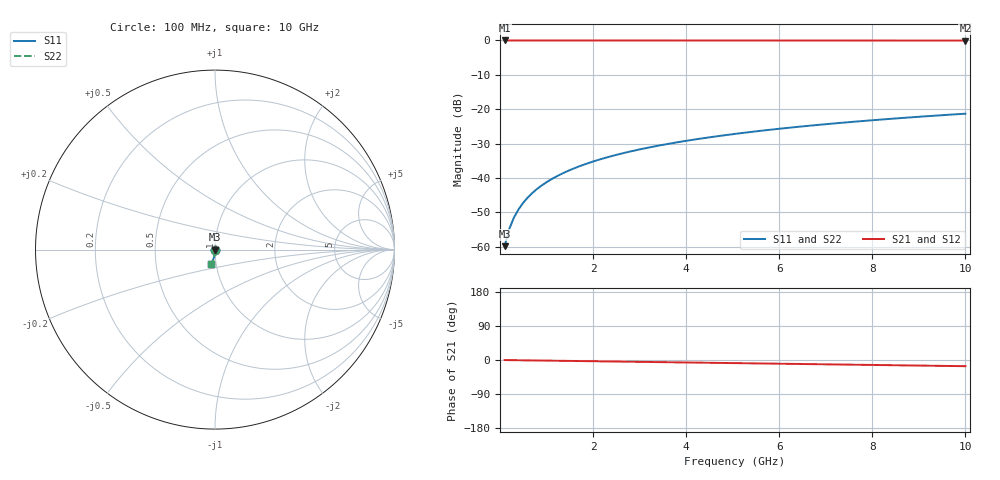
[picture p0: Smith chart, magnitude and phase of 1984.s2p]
# Hz S RI R 50.00
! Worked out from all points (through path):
!   100 points, 100 MHz to 10 GHz, reference 50 ohm
!   highest |S21| = 0.00 dB at 100 MHz (marker M1); lowest = 0.0 dB at 10 GHz (marker M2)
!   group delay of S21, straight-line fit = 4.54 ps
!   lowest |S11| = -59.8 dB at 100 MHz (marker M3), VSWR 1.00, Z = 50.1 - j0.0868 ohm
!   |S11| at or under -10 dB: start of sweep to end of sweep
!   |S22| runs from -59.8 to -21.3 dB; largest |S21 - S12| = 0
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1e8  0.000535 -0.000867  0.9995 -0.00284  0.9995 -0.00284  0.000535 -0.000867
2e8  0.000529 -0.00173  0.9994 -0.00567  0.9994 -0.00567  0.000529 -0.00173
3e8  0.000518 -0.0026  0.9994 -0.00851  0.9994 -0.00851  0.000518 -0.0026
4e8  0.000501 -0.00347  0.9994 -0.0113  0.9994 -0.0113  0.000501 -0.00347
5e8  0.000479 -0.00434  0.9993 -0.0142  0.9993 -0.0142  0.000479 -0.00434
6e8  0.000452 -0.0052  0.9993 -0.017  0.9993 -0.017  0.000452 -0.0052
7e8  0.00042 -0.00607  0.9992 -0.0198  0.9992 -0.0198  0.00042 -0.00607
8e8  0.000383 -0.00694  0.9991 -0.0227  0.9991 -0.0227  0.000383 -0.00694
9e8  0.00034 -0.0078  0.9991 -0.0255  0.9991 -0.0255  0.00034 -0.0078
1.1e9  0.000241 -0.00954  0.9989 -0.0312  0.9989 -0.0312  0.000241 -0.00954
1.4e9  5.44e-05 -0.0121  0.9986 -0.0397  0.9986 -0.0397  5.44e-05 -0.0121
1.8e9  -0.000264 -0.0156  0.998 -0.051  0.998 -0.051  -0.000264 -0.0156
2.1e9  -0.000554 -0.0182  0.9975 -0.0595  0.9975 -0.0595  -0.000554 -0.0182
2.5e9  -0.00101 -0.0216  0.9966 -0.0709  0.9966 -0.0709  -0.00101 -0.0216
2.9e9  -0.00155 -0.0251  0.9957 -0.0822  0.9957 -0.0822  -0.00155 -0.0251
3.4e9  -0.00232 -0.0294  0.9943 -0.0963  0.9943 -0.0963  -0.00232 -0.0294
4.2e9  -0.00383 -0.0362  0.9916 -0.1189  0.9916 -0.1189  -0.00383 -0.0362
5.1e9  -0.00589 -0.0438  0.9879 -0.1443  0.9879 -0.1443  -0.00589 -0.0438
5.9e9  -0.00804 -0.0504  0.984 -0.1667  0.984 -0.1667  -0.00804 -0.0504
6.7e9  -0.0105 -0.057  0.9795 -0.1891  0.9795 -0.1891  -0.0105 -0.057
8.4e9  -0.0167 -0.0705  0.9682 -0.2362  0.9682 -0.2362  -0.0167 -0.0705
1e10  -0.0238 -0.0827  0.9553 -0.2799  0.9553 -0.2799  -0.0238 -0.0827
